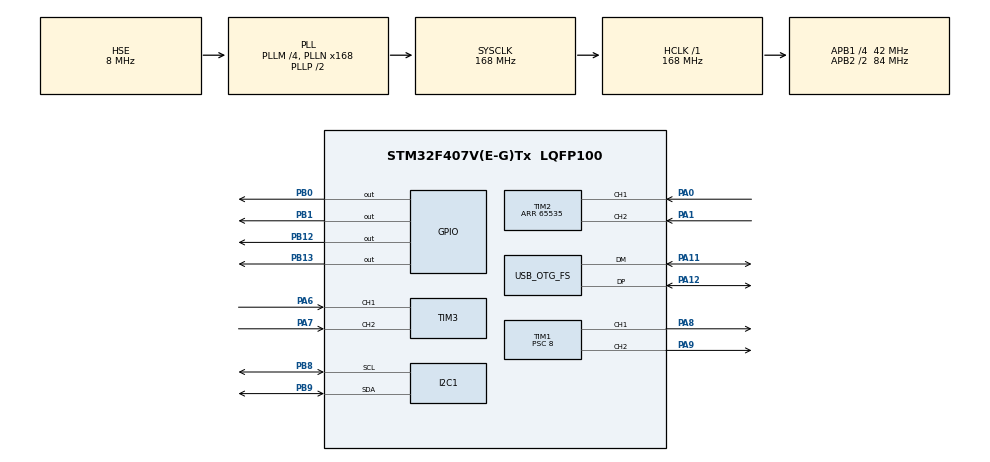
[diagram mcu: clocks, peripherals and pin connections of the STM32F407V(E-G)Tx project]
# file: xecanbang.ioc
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Mcu.Family=STM32F4
Mcu.Name=STM32F407V(E-G)Tx
Mcu.Package=LQFP100
NVIC.OTG_FS_IRQn=true\:0\:0\:false\:false\:true\:false\:true\:true
NVIC.PriorityGroup=NVIC_PRIORITYGROUP_4
PA0-WKUP.Signal=S_TIM2_CH1_ETR
PA1.Signal=S_TIM2_CH2
PA11.Mode=Device_Only
PA11.Signal=USB_OTG_FS_DM
PA12.Mode=Device_Only
PA12.Signal=USB_OTG_FS_DP
PA13.Mode=Serial_Wire
PA13.Signal=SYS_JTMS-SWDIO
PA14.Mode=Serial_Wire
PA14.Signal=SYS_JTCK-SWCLK
PA6.Signal=S_TIM3_CH1
PA7.Signal=S_TIM3_CH2
PA8.Signal=S_TIM1_CH1
PA9.Signal=S_TIM1_CH2
PB0.Signal=GPIO_Output
PB1.Signal=GPIO_Output
PB12.Signal=GPIO_Output
PB13.Signal=GPIO_Output
PB8.GPIO_Pu=GPIO_PULLUP
PB8.Mode=I2C
PB8.Signal=I2C1_SCL
PB9.GPIO_Pu=GPIO_PULLUP
PB9.Mode=I2C
PB9.Signal=I2C1_SDA
PH0-OSC_IN.Mode=HSE-External-Oscillator
PH0-OSC_IN.Signal=RCC_OSC_IN
PH1-OSC_OUT.Mode=HSE-External-Oscillator
PH1-OSC_OUT.Signal=RCC_OSC_OUT
ProjectManager.HeapSize=0x200
ProjectManager.StackSize=0x400
ProjectManager.TargetToolchain=STM32CubeIDE
RCC.48MHZClocksFreq_Value=48000000
RCC.AHBFreq_Value=168000000
RCC.APB1CLKDivider=RCC_HCLK_DIV4
RCC.APB1Freq_Value=42000000
RCC.APB1TimFreq_Value=84000000
RCC.APB2CLKDivider=RCC_HCLK_DIV2
RCC.APB2Freq_Value=84000000
RCC.APB2TimFreq_Value=168000000
RCC.CortexFreq_Value=168000000
RCC.HCLKFreq_Value=168000000
RCC.HSE_VALUE=8000000
RCC.HSI_VALUE=16000000
RCC.LSE_VALUE=32768
RCC.PLLM=4
RCC.PLLN=168
RCC.PLLQ=7
RCC.SYSCLKFreq_VALUE=168000000
RCC.SYSCLKSource=RCC_SYSCLKSOURCE_PLLCLK
RCC.VCOOutputFreq_Value=336000000
SH.S_TIM1_CH1.0=TIM1_CH1,PWM Generation1 CH1
SH.S_TIM1_CH2.0=TIM1_CH2,PWM Generation2 CH2
SH.S_TIM2_CH1_ETR.0=TIM2_CH1,Encoder_Interface
SH.S_TIM2_CH2.0=TIM2_CH2,Encoder_Interface
SH.S_TIM3_CH1.0=TIM3_CH1,Encoder_Interface
SH.S_TIM3_CH2.0=TIM3_CH2,Encoder_Interface
TIM1.Channel-PWM\ Generation1\ CH1=TIM_CHANNEL_1
TIM1.Channel-PWM\ Generation2\ CH2=TIM_CHANNEL_2
TIM1.Period=999
TIM1.Prescaler=8
TIM2.EncoderMode=TIM_ENCODERMODE_TI12
TIM2.IC1Filter=8
TIM2.IC2Filter=8
TIM2.Period=65535
TIM3.EncoderMode=TIM_ENCODERMODE_TI12
TIM3.IC1Filter=8
TIM3.IC2Filter=8
USB_DEVICE.CLASS_NAME_FS=CDC
USB_DEVICE.VirtualMode-CDC_FS=Cdc
USB_DEVICE.VirtualModeFS=Cdc_FS
USB_OTG_FS.VirtualMode=Device_Only
VP_USB_DEVICE_VS_USB_DEVICE_CDC_FS.Mode=CDC_FS
board=custom

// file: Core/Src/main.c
/* USER CODE BEGIN Header */
/**
  ******************************************************************************
  * @file           : main.c
  * @brief          : Main program body (FIXED VERSION)
  ******************************************************************************
  */
/* USER CODE END Header */
#include "main.h"
#include "usb_device.h"

/* USER CODE BEGIN Includes */
#include "mpu6050.h"
#include <math.h>
#include "usbd_cdc_if.h"
#include <stdio.h>
#include <stdlib.h>      // Thêm thư viện này để dùng hàm abs()
/* USER CODE END Includes */

/* USER CODE BEGIN PTD */

typedef struct {
    double Kp;
    double Ki;
    double Kd;
    double previous_error;
    double integral;
    double output_limit;
} PID_Controller_t;

/* USER CODE END PTD */

/* USER CODE BEGIN PD */
// [SỬA 1] Định nghĩa chu kỳ vòng lặp cố định
#define LOOP_TIME_MS 5
// [SỬA 3] Deadzone: Giá trị PWM tối thiểu để bánh xe bắt đầu quay (cần chỉnh tùy motor)
#define MOTOR_DEADZONE_LEFT 175
#define MOTOR_DEADZONE_RIGHT 100
#define thresh 0.5
/* USER CODE END PD */

I2C_HandleTypeDef hi2c1;

TIM_HandleTypeDef htim1;
TIM_HandleTypeDef htim2;
TIM_HandleTypeDef htim3;

/* USER CODE BEGIN PV */
MPU6050_t MPU6050_Data;
uint32_t timer_main = 0;

PID_Controller_t Balance_PID;
PID_Controller_t Speed_PID_Left;
PID_Controller_t Speed_PID_Right;

int32_t Encoder_Count_A = 0;
int32_t Encoder_Count_B = 0;
double Target_Angle = 0.1;
uint32_t usb_timer = 0;
char usb_buffer[64];

// [SỬA 2] Thêm biến lưu tốc độ đã lọc
double speed_left_filtered = 0;
double speed_right_filtered = 0;

/* USER CODE END PV */

void SystemClock_Config(void);
static void MX_GPIO_Init(void);
static void MX_TIM1_Init(void);
static void MX_TIM3_Init(void);
static void MX_I2C1_Init(void);
static void MX_TIM2_Init(void);
/* USER CODE BEGIN PFP */
double calculate_PID(PID_Controller_t *pid, double setpoint, double current_value, double dt);
/* USER CODE END PFP */

/* USER CODE BEGIN 0 */
void MotorA_SetDir(int dir)
{
    if (dir > 0) {
        HAL_GPIO_WritePin(GPIOB, GPIO_PIN_0, GPIO_PIN_RESET);
        HAL_GPIO_WritePin(GPIOB, GPIO_PIN_1, GPIO_PIN_SET);
    } else if (dir < 0) {
    	HAL_GPIO_WritePin(GPIOB, GPIO_PIN_0, GPIO_PIN_SET);
        HAL_GPIO_WritePin(GPIOB, GPIO_PIN_1, GPIO_PIN_RESET);
    } else {
        HAL_GPIO_WritePin(GPIOB, GPIO_PIN_0, GPIO_PIN_RESET);
        HAL_GPIO_WritePin(GPIOB, GPIO_PIN_1, GPIO_PIN_RESET);
    }
}

void MotorA_SetSpeed(uint16_t pwm)
{
    __HAL_TIM_SET_COMPARE(&htim1, TIM_CHANNEL_1, pwm);
}
void MotorB_SetDir(int dir)
{
    if (dir > 0) {
        HAL_GPIO_WritePin(GPIOB, GPIO_PIN_12, GPIO_PIN_RESET);
        HAL_GPIO_WritePin(GPIOB, GPIO_PIN_13, GPIO_PIN_SET);
    } else if (dir < 0) {
        HAL_GPIO_WritePin(GPIOB, GPIO_PIN_12, GPIO_PIN_SET);
        HAL_GPIO_WritePin(GPIOB, GPIO_PIN_13, GPIO_PIN_RESET);
    } else {
        HAL_GPIO_WritePin(GPIOB, GPIO_PIN_12, GPIO_PIN_RESET);
        HAL_GPIO_WritePin(GPIOB, GPIO_PIN_13, GPIO_PIN_RESET);
    }
}

void MotorB_SetSpeed(uint16_t pwm)
{
    __HAL_TIM_SET_COMPARE(&htim1, TIM_CHANNEL_2, pwm);
}
/* USER CODE END 0 */

int main(void)
{

  /* MCU Configuration--------------------------------------------------------*/
  HAL_Init();

  /* Configure the system clock */
  SystemClock_Config();

  /* Initialize all configured peripherals */
  MX_GPIO_Init();
  MX_TIM1_Init();
  MX_TIM3_Init();
  MX_I2C1_Init();
  MX_TIM2_Init();
  MX_USB_DEVICE_Init();
  /* USER CODE BEGIN 2 */
  HAL_TIM_PWM_Start(&htim1, TIM_CHANNEL_1);
  HAL_TIM_PWM_Start(&htim1, TIM_CHANNEL_2);

  HAL_TIM_Encoder_Start(&htim3, TIM_CHANNEL_ALL);
  HAL_TIM_Encoder_Start(&htim2, TIM_CHANNEL_ALL);

  while (MPU6050_Init(&hi2c1) == 1);
  timer_main = HAL_GetTick();

  // PID Tuning (Bạn có thể giữ nguyên hoặc chỉnh lại sau)
  Balance_PID.Kp = 315.0; // Tăng Kp một chút vì vòng lặp ổn định hơn
  Balance_PID.Ki = 0.1;
  Balance_PID.Kd = 1.4;
  Balance_PID.output_limit = 999.0;
  Balance_PID.integral = 0;
  Balance_PID.previous_error = 0;

  Speed_PID_Left.Kp = 2.0;
  Speed_PID_Left.Ki = 0.1;
  Speed_PID_Left.Kd = 0.0; // Thường tốc độ không cần D
  Speed_PID_Left.output_limit = 999.0;
  Speed_PID_Left.integral = 0;
  Speed_PID_Left.previous_error = 0;

  Speed_PID_Right.Kp = 2.0;
  Speed_PID_Right.Ki = 0.1;
  Speed_PID_Right.Kd = 0.0;
  Speed_PID_Right.output_limit = 999.0;
  Speed_PID_Right.integral = 0;
  Speed_PID_Right.previous_error = 0;

  /* USER CODE END 2 */

  /* Infinite loop */
  while (1)
  {

    /* USER CODE BEGIN 3 */

    // [SỬA 1] KIỂM SOÁT THỜI GIAN: Chỉ chạy khi đủ 10ms

	  if (HAL_GetTick() - timer_main < LOOP_TIME_MS) {
		  continue;
      }
      timer_main = HAL_GetTick();
      double dt = (double)LOOP_TIME_MS / 1000.0; // dt cố định

      // 2. Đọc cảm biến
      MPU6050_Read_All(&hi2c1, &MPU6050_Data);
      double current_angle = MPU6050_Data.KalmanAngleY;

      // 3. USB Debug (Gửi góc lên máy tính)
      if (HAL_GetTick() - usb_timer > 5)
      {
           float val = current_angle;
           char sign = (val < 0) ? '-' : '+';
           int int_part = (int)fabs(val);
           int frac_part = (int)((fabs(val) - int_part) * 100);
           int len = sprintf(usb_buffer, "Angle: %c%d.%02d\r\n", sign, int_part, frac_part);
           CDC_Transmit_FS((uint8_t*)usb_buffer, len);
           usb_timer = HAL_GetTick();
      }

    // Safety Cutoff
    if (fabs(current_angle) > 90.0) // Tăng lên 40 độ
    {
        MotorA_SetDir(0); MotorB_SetDir(0);
        MotorA_SetSpeed(0); MotorB_SetSpeed(0);
        Balance_PID.integral = 0;
        Speed_PID_Left.integral = 0; Speed_PID_Right.integral = 0;
        continue;
    }

    double target_speed = calculate_PID(&Balance_PID, Target_Angle, current_angle, dt);

    // ========== VÒNG TRONG: PID TỐC ĐỘ ==========
    int32_t encoder_left = (int32_t)__HAL_TIM_GET_COUNTER(&htim2);
    int32_t encoder_right = (int32_t)__HAL_TIM_GET_COUNTER(&htim3);

    // Tính tốc độ thô
    double speed_left_raw =  -1.0 * (double)(encoder_left - Encoder_Count_A) / dt;
    double speed_right_raw = (double)(encoder_right - Encoder_Count_B) / dt;

    Encoder_Count_A = encoder_left;
    Encoder_Count_B = encoder_right;

    // [SỬA 2] BỘ LỌC THÔNG THẤP (Low Pass Filter) - Tránh giật do nhiễu encoder
    speed_left_filtered = 0.7 * speed_left_filtered + 0.3 * speed_left_raw;
    speed_right_filtered = 0.7 * speed_right_filtered + 0.3 * speed_right_raw;

    sprintf(usb_buffer, "L: %d | R: %d\r\n", (int)speed_left_filtered, (int)speed_right_filtered);
    CDC_Transmit_FS((uint8_t*)usb_buffer, strlen(usb_buffer));
    // Tính PID Tốc độ dùng giá trị đã lọc
    double desired_speed = 0;
    double speed_correction_left = calculate_PID(&Speed_PID_Left, desired_speed, speed_left_filtered, dt);
    double speed_correction_right = calculate_PID(&Speed_PID_Right, desired_speed, speed_right_filtered, dt);

    // ========== ÁP DỤNG MOTOR ==========
    double final_output_left = 999;
    double final_output_right = target_speed  ;

    // [SỬA ĐOẠN NÀY] XỬ LÝ DEADZONE THÔNG MINH HƠN

      // Motor Trái
      int pwm_left = 0;
      int dir_left = 0;

      // Chỉ bù ma sát khi lực điều khiển đủ lớn (lớn hơn 5)
      // Giúp robot im lặng khi sai số quá nhỏ
      if (final_output_left > thresh) {
          dir_left = -1;
          pwm_left = (int)(final_output_left + MOTOR_DEADZONE_LEFT);
      }
      else if (final_output_left < -thresh) {
          dir_left = 1;
          pwm_left = (int)(fabs(final_output_left) + MOTOR_DEADZONE_LEFT);
      }
      else {
          // Nếu PID tính ra quá nhỏ (< 5), coi như đứng yên, không bơm thêm Deadzone
          dir_left = 0;
          pwm_left = 0;
      }

      // Motor Phải (Làm tương tự)
      int pwm_right = 0;
      int dir_right = 0;

      if (final_output_right > thresh) {
          dir_right = -1;
          pwm_right = (int)(final_output_right + MOTOR_DEADZONE_RIGHT);
      }
      else if (final_output_right < -thresh) {
          dir_right = 1;
          pwm_right = (int)(fabs(final_output_right) + MOTOR_DEADZONE_RIGHT);
      }
      else {
          dir_right = 0;
          pwm_right = 0;
      }

      // Giới hạn Max PWM
      if (pwm_left > 999) pwm_left = 999;
      if (pwm_right > 999) pwm_right = 999;

      // Xuất lệnh ra motor
      MotorA_SetDir(dir_left);
      MotorA_SetSpeed(pwm_left);

      MotorB_SetDir(dir_right);
      MotorB_SetSpeed(pwm_right);
  }
  /* USER CODE END 3 */
}

void SystemClock_Config(void)
{
  RCC_OscInitTypeDef RCC_OscInitStruct = {0};
  RCC_ClkInitTypeDef RCC_ClkInitStruct = {0};

  /** Configure the main internal regulator output voltage
  */
  __HAL_RCC_PWR_CLK_ENABLE();
  __HAL_PWR_VOLTAGESCALING_CONFIG(PWR_REGULATOR_VOLTAGE_SCALE1);

  /** Initializes the RCC Oscillators according to the specified parameters
  * in the RCC_OscInitTypeDef structure.
  */
  RCC_OscInitStruct.OscillatorType = RCC_OSCILLATORTYPE_HSE;
  RCC_OscInitStruct.HSEState = RCC_HSE_ON;
  RCC_OscInitStruct.PLL.PLLState = RCC_PLL_ON;
  RCC_OscInitStruct.PLL.PLLSource = RCC_PLLSOURCE_HSE;
  RCC_OscInitStruct.PLL.PLLM = 4;
  RCC_OscInitStruct.PLL.PLLN = 168;
  RCC_OscInitStruct.PLL.PLLP = RCC_PLLP_DIV2;
  RCC_OscInitStruct.PLL.PLLQ = 7;
  if (HAL_RCC_OscConfig(&RCC_OscInitStruct) != HAL_OK)
  {
    Error_Handler();
  }

  /** Initializes the CPU, AHB and APB buses clocks
  */
  RCC_ClkInitStruct.ClockType = RCC_CLOCKTYPE_HCLK|RCC_CLOCKTYPE_SYSCLK
                              |RCC_CLOCKTYPE_PCLK1|RCC_CLOCKTYPE_PCLK2;
  RCC_ClkInitStruct.SYSCLKSource = RCC_SYSCLKSOURCE_PLLCLK;
  RCC_ClkInitStruct.AHBCLKDivider = RCC_SYSCLK_DIV1;
  RCC_ClkInitStruct.APB1CLKDivider = RCC_HCLK_DIV4;
  RCC_ClkInitStruct.APB2CLKDivider = RCC_HCLK_DIV2;

  if (HAL_RCC_ClockConfig(&RCC_ClkInitStruct, FLASH_LATENCY_5) != HAL_OK)
  {
    Error_Handler();
  }
}

static void MX_I2C1_Init(void)
{

  hi2c1.Instance = I2C1;
  hi2c1.Init.ClockSpeed = 100000;
  hi2c1.Init.DutyCycle = I2C_DUTYCYCLE_2;
  hi2c1.Init.OwnAddress1 = 0;
  hi2c1.Init.AddressingMode = I2C_ADDRESSINGMODE_7BIT;
  hi2c1.Init.DualAddressMode = I2C_DUALADDRESS_DISABLE;
  hi2c1.Init.OwnAddress2 = 0;
  hi2c1.Init.GeneralCallMode = I2C_GENERALCALL_DISABLE;
hi2c1.Init.NoStretchMode = I2C_NOSTRETCH_DISABLE;
  if (HAL_I2C_Init(&hi2c1) != HAL_OK)
  {
    Error_Handler();
  }

}

static void MX_TIM1_Init(void)
{

  TIM_MasterConfigTypeDef sMasterConfig = {0};
  TIM_OC_InitTypeDef sConfigOC = {0};
  TIM_BreakDeadTimeConfigTypeDef sBreakDeadTimeConfig = {0};

  htim1.Instance = TIM1;
  htim1.Init.Prescaler = 8;
  htim1.Init.CounterMode = TIM_COUNTERMODE_UP;
  htim1.Init.Period = 999;
  htim1.Init.ClockDivision = TIM_CLOCKDIVISION_DIV1;
  htim1.Init.RepetitionCounter = 0;
  htim1.Init.AutoReloadPreload = TIM_AUTORELOAD_PRELOAD_DISABLE;
  if (HAL_TIM_PWM_Init(&htim1) != HAL_OK)
  {
    Error_Handler();
  }
  sMasterConfig.MasterOutputTrigger = TIM_TRGO_RESET;
  sMasterConfig.MasterSlaveMode = TIM_MASTERSLAVEMODE_DISABLE;
  if (HAL_TIMEx_MasterConfigSynchronization(&htim1, &sMasterConfig) != HAL_OK)
  {
    Error_Handler();
  }
  sConfigOC.OCMode = TIM_OCMODE_PWM1;
  sConfigOC.Pulse = 0;
  sConfigOC.OCPolarity = TIM_OCPOLARITY_HIGH;
  sConfigOC.OCNPolarity = TIM_OCNPOLARITY_HIGH;
  sConfigOC.OCFastMode = TIM_OCFAST_DISABLE;
  sConfigOC.OCIdleState = TIM_OCIDLESTATE_RESET;
  sConfigOC.OCNIdleState = TIM_OCNIDLESTATE_RESET;
  if (HAL_TIM_PWM_ConfigChannel(&htim1, &sConfigOC, TIM_CHANNEL_1) != HAL_OK)
  {
    Error_Handler();
  }
  if (HAL_TIM_PWM_ConfigChannel(&htim1, &sConfigOC, TIM_CHANNEL_2) != HAL_OK)
  {
    Error_Handler();
  }
  sBreakDeadTimeConfig.OffStateRunMode = TIM_OSSR_DISABLE;
  sBreakDeadTimeConfig.OffStateIDLEMode = TIM_OSSI_DISABLE;
  sBreakDeadTimeConfig.LockLevel = TIM_LOCKLEVEL_OFF;
  sBreakDeadTimeConfig.DeadTime = 0;
  sBreakDeadTimeConfig.BreakState = TIM_BREAK_DISABLE;
  sBreakDeadTimeConfig.BreakPolarity = TIM_BREAKPOLARITY_HIGH;
  sBreakDeadTimeConfig.AutomaticOutput = TIM_AUTOMATICOUTPUT_DISABLE;
  if (HAL_TIMEx_ConfigBreakDeadTime(&htim1, &sBreakDeadTimeConfig) != HAL_OK)
  {
    Error_Handler();
  }
  HAL_TIM_MspPostInit(&htim1);

}

static void MX_TIM2_Init(void)
{

  TIM_Encoder_InitTypeDef sConfig = {0};
  TIM_MasterConfigTypeDef sMasterConfig = {0};

  htim2.Instance = TIM2;
  htim2.Init.Prescaler = 0;
  htim2.Init.CounterMode = TIM_COUNTERMODE_UP;
  htim2.Init.Period = 65535;
  htim2.Init.ClockDivision = TIM_CLOCKDIVISION_DIV1;
  htim2.Init.AutoReloadPreload = TIM_AUTORELOAD_PRELOAD_DISABLE;
  sConfig.EncoderMode = TIM_ENCODERMODE_TI12;
sConfig.IC1Polarity = TIM_ICPOLARITY_RISING;
  sConfig.IC1Selection = TIM_ICSELECTION_DIRECTTI;
  sConfig.IC1Prescaler = TIM_ICPSC_DIV1;
  sConfig.IC1Filter = 0;
  sConfig.IC2Polarity = TIM_ICPOLARITY_RISING;
  sConfig.IC2Selection = TIM_ICSELECTION_DIRECTTI;
  sConfig.IC2Prescaler = TIM_ICPSC_DIV1;
  sConfig.IC2Filter = 0;
  if (HAL_TIM_Encoder_Init(&htim2, &sConfig) != HAL_OK)
  {
    Error_Handler();
  }
  sMasterConfig.MasterOutputTrigger = TIM_TRGO_RESET;
  sMasterConfig.MasterSlaveMode = TIM_MASTERSLAVEMODE_DISABLE;
  if (HAL_TIMEx_MasterConfigSynchronization(&htim2, &sMasterConfig) != HAL_OK)
  {
    Error_Handler();
  }

}

static void MX_TIM3_Init(void)
{

  TIM_Encoder_InitTypeDef sConfig = {0};
  TIM_MasterConfigTypeDef sMasterConfig = {0};

  htim3.Instance = TIM3;
  htim3.Init.Prescaler = 0;
  htim3.Init.CounterMode = TIM_COUNTERMODE_UP;
  htim3.Init.Period = 65535;
  htim3.Init.ClockDivision = TIM_CLOCKDIVISION_DIV1;
  htim3.Init.AutoReloadPreload = TIM_AUTORELOAD_PRELOAD_DISABLE;
  sConfig.EncoderMode = TIM_ENCODERMODE_TI12;
  sConfig.IC1Polarity = TIM_ICPOLARITY_RISING;
  sConfig.IC1Selection = TIM_ICSELECTION_DIRECTTI;
  sConfig.IC1Prescaler = TIM_ICPSC_DIV1;
  sConfig.IC1Filter = 0;
  sConfig.IC2Polarity = TIM_ICPOLARITY_RISING;
  sConfig.IC2Selection = TIM_ICSELECTION_DIRECTTI;
  sConfig.IC2Prescaler = TIM_ICPSC_DIV1;
  sConfig.IC2Filter = 0;
  if (HAL_TIM_Encoder_Init(&htim3, &sConfig) != HAL_OK)
  {
    Error_Handler();
  }
  sMasterConfig.MasterOutputTrigger = TIM_TRGO_RESET;
  sMasterConfig.MasterSlaveMode = TIM_MASTERSLAVEMODE_DISABLE;
  if (HAL_TIMEx_MasterConfigSynchronization(&htim3, &sMasterConfig) != HAL_OK)
  {
    Error_Handler();
  }

}

static void MX_GPIO_Init(void)
{
  GPIO_InitTypeDef GPIO_InitStruct = {0};

  /* GPIO Ports Clock Enable */
  __HAL_RCC_GPIOH_CLK_ENABLE();
  __HAL_RCC_GPIOA_CLK_ENABLE();
  __HAL_RCC_GPIOB_CLK_ENABLE();

  /*Configure GPIO pin Output Level */
  HAL_GPIO_WritePin(GPIOB, GPIO_PIN_0|GPIO_PIN_1|GPIO_PIN_12|GPIO_PIN_13, GPIO_PIN_RESET);

  /*Configure GPIO pins : PB0 PB1 PB12 PB13 */
  GPIO_InitStruct.Pin = GPIO_PIN_0|GPIO_PIN_1|GPIO_PIN_12|GPIO_PIN_13;
  GPIO_InitStruct.Mode = GPIO_MODE_OUTPUT_PP;
  GPIO_InitStruct.Pull = GPIO_NOPULL;
  GPIO_InitStruct.Speed = GPIO_SPEED_FREQ_LOW;
  HAL_GPIO_Init(GPIOB, &GPIO_InitStruct);

}

/* USER CODE BEGIN 4 */
// Hàm tính toán đầu ra PID
double calculate_PID(PID_Controller_t *pid, double setpoint, double current_value, double dt)
{
    // 1. Tính toán Sai số (Error)
    double error = setpoint - current_value;

    // 2. Tỷ lệ (P)
    double proportional = pid->Kp * error;

    // 3. Tích phân (I)
    pid->integral += error * dt;
    // Chống bão hòa tích phân (Anti-windup) - Rất quan trọng
    if (pid->Ki != 0) // Chỉ thực hiện khi Ki khác 0
    {
        double limit = pid->output_limit / pid->Ki;

        if (pid->integral > limit) pid->integral = limit;
        if (pid->integral < -limit) pid->integral = -limit;
    }
    else
    {
        // Nếu Ki = 0, tốt nhất nên reset tích phân để tránh nó tích lũy ngầm
        pid->integral = 0;
    }
    // 4. Đạo hàm (D)
    // dt là khoảng thời gian giữa các lần tính toán
    double derivative = (error - pid->previous_error) / dt;

    // 5. Cập nhật lỗi trước đó
    pid->previous_error = error;

    // 6. Đầu ra PID
    double output = proportional + (pid->Ki * pid->integral) + (pid->Kd * derivative);

    // 7. Giới hạn đầu ra
    if (output > pid->output_limit) output = pid->output_limit;
    if (output < -pid->output_limit) output = -pid->output_limit;

    return output;
}

/* USER CODE END 4 */

void Error_Handler(void)
{
  __disable_irq();
  while (1)
  {
  }
}
